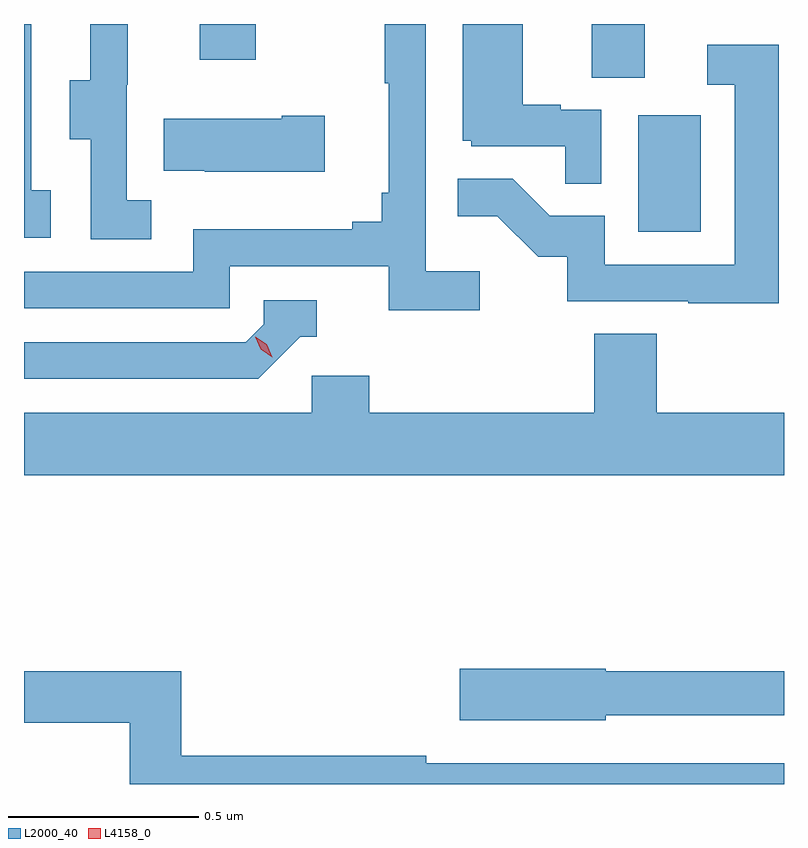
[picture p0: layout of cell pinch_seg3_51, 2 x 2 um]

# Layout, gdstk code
import gdstk
lib = gdstk.Library(unit=1e-6, precision=1e-09)
def R(c, l, rs):  # rectangles x0, y0, x1, y1
    for r in rs: c.add(gdstk.rectangle(r[:2], r[2:], *l))
def P(c, l, *ps):  # polygons
    for p in ps: c.add(gdstk.Polygon(p, *l))
L2000_40 = (2000, 40)
L4158_0 = (4158, 0)

pinch_seg3_51 = lib.new_cell('pinch_seg3_51')
R(pinch_seg3_51, L2000_40, [(1058.468,736.188,1058.632,736.495), (1058.345,736.594,1058.485,736.735), (1057.313,736.641,1057.461,736.735)])
P(pinch_seg3_51, L2000_40, [(1058.37,736.509),(1058.264,736.509),(1058.264,736.522),(1058.164,736.522),(1058.164,736.735),(1058.006,736.735),(1058.006,736.428),(1058.028,736.428),(1058.028,736.413),(1058.275,736.413),(1058.275,736.315),(1058.37,736.315)],
  [(1058.05,736.084),(1057.908,736.084),(1057.908,736.735),(1057.8,736.735),(1057.8,736.579),(1057.811,736.579),(1057.811,736.291),(1057.792,736.291),(1057.792,736.214),(1057.715,736.214),(1057.715,736.195),(1057.296,736.195),(1057.296,736.083),(1056.851,736.083),(1056.851,735.987),(1057.392,735.987),(1057.392,736.098),(1057.811,736.098),(1057.811,735.982),(1058.05,735.982)],
  [(1057.186,736.271),(1057.122,736.271),(1057.122,736.575),(1057.124,736.575),(1057.124,736.735),(1057.025,736.735),(1057.025,736.587),(1056.971,736.587),(1056.971,736.432),(1057.026,736.432),(1057.026,736.168),(1057.186,736.168)],
  [(1056.922,736.298),(1056.87,736.298),(1056.87,736.735),(1056.851,736.735),(1056.851,736.173),(1056.922,736.173)],
  [(1058.837,736.681),(1058.649,736.681),(1058.649,736.575),(1058.721,736.575),(1058.721,736.101),(1058.379,736.101),(1058.379,736.23),(1058.235,736.23),(1058.137,736.328),(1057.993,736.328),(1057.993,736.229),(1058.097,736.229),(1058.204,736.122),(1058.281,736.122),(1058.281,736.005),(1058.599,736.005),(1058.599,736),(1058.837,736)],
  [(1057.642,736.494),(1057.529,736.494),(1057.529,736.486),(1057.219,736.486),(1057.219,736.349),(1057.327,736.349),(1057.327,736.346),(1057.642,736.346)],
  [(1057.578,735.912),(1057.621,735.912),(1057.621,736.008),(1057.482,736.008),(1057.482,735.945),(1057.434,735.897),(1056.851,735.897),(1056.851,735.801),(1057.467,735.801)],
  [(1058.851,735.712),(1058.516,735.712),(1058.516,735.92),(1058.351,735.92),(1058.351,735.712),(1057.76,735.712),(1057.76,735.81),(1057.608,735.81),(1057.608,735.712),(1056.851,735.712),(1056.851,735.548),(1058.851,735.548)],
  [(1058.382,734.916),(1058.851,734.916),(1058.851,735.032),(1058.382,735.032),(1058.382,735.038),(1057.998,735.038),(1057.998,734.903),(1058.382,734.903)],
  [(1058.851,734.79),(1057.91,734.79),(1057.91,734.81),(1057.265,734.81),(1057.265,735.032),(1056.851,735.032),(1056.851,734.896),(1057.129,734.896),(1057.129,734.735),(1058.851,734.735)])
P(pinch_seg3_51, L4158_0, [(1057.504,735.858),(1057.474,735.879),(1057.459,735.912),(1057.459,735.912),(1057.46,735.912),(1057.49,735.892),(1057.504,735.858),(1057.504,735.858)])

lib.write_gds('pinch_seg3_51.gds')
